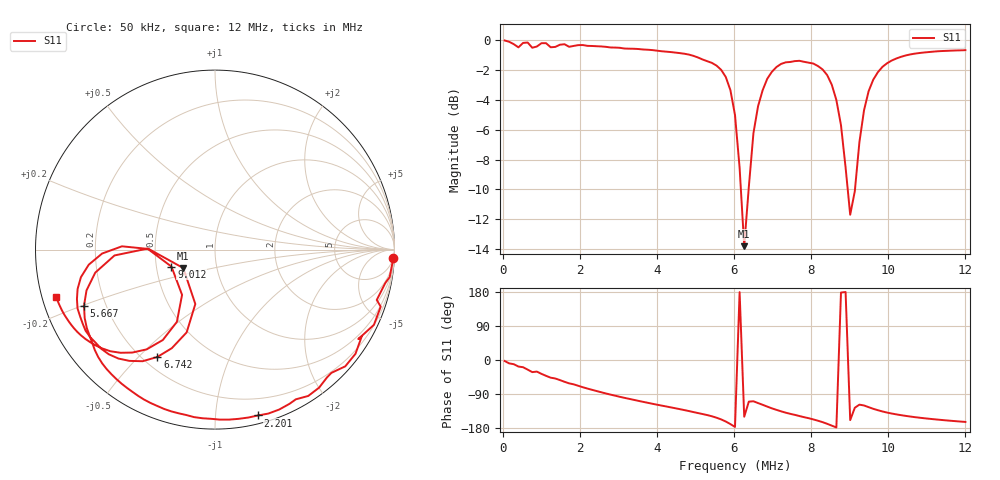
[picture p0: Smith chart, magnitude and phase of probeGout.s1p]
# Hz S RI R 50
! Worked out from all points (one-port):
!   101 points, 50 kHz to 12 MHz, reference 50 ohm
!   lowest |S11| = -13.8 dB at 6.264 MHz (marker M1), VSWR 1.51, Z = 34.3 - j7.38 ohm
!   |S11| at or under -10 dB: 6.178 MHz to 6.378 MHz (200.9 kHz wide, 3.2 % of centre); 8.949 MHz to 9.136 MHz (187.8 kHz wide, 2.08 % of centre)
!   S11 on the Smith chart (normalised r, x): 50 kHz: 5, -44; 2.201 MHz: 0.06, -1.29; 5.667 MHz: 0.12, -0.20; 6.742 MHz: 0.26, -0.57; 9.012 MHz: 0.60, -0.12; 12 MHz: 0.04, -0.15
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50000  0.9943 -0.0446
528000  0.9232 -0.3181
767000  0.7983 -0.4984
886500  0.8175 -0.4837
1006000  0.7828 -0.5804
1603500  0.5194 -0.8155
2201000  0.24 -0.924
3037500  -0.1169 -0.9333
4591000  -0.5764 -0.6951
5666500  -0.7298 -0.3125
5905500  -0.6671 -0.1283
6025000  -0.5598 -0.0325
6144500  -0.3735 0.00597
6264000  -0.1766 -0.1029
6383500  -0.1096 -0.3032
6503000  -0.1579 -0.4613
6742000  -0.321 -0.598
7220000  -0.5919 -0.5831
7578500  -0.6939 -0.4894
8415000  -0.747 -0.1535
8773500  -0.5184 0.0183
9012500  -0.2425 -0.0948
9132000  -0.1835 -0.2522
9251500  -0.2123 -0.4025
9490500  -0.3808 -0.5558
9968500  -0.6276 -0.5509
1.0566e7  -0.7669 -0.4588
1.2e7  -0.8853 -0.2635
